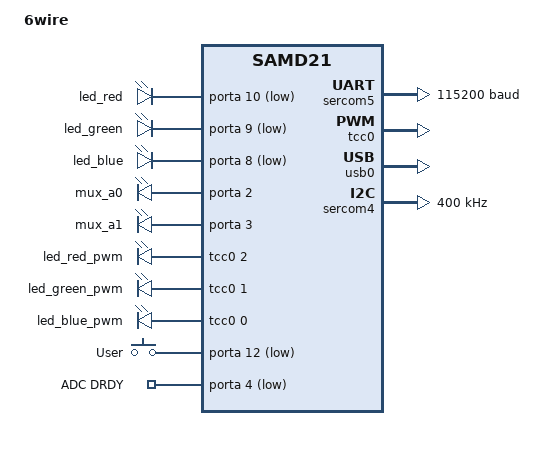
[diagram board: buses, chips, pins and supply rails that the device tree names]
/dts-v1/;
#include <atmel/samd21.dtsi>
#include "6wire-pinctrl.dtsi"

/ {
    model = "6wire";
    compatible = "atmel,samd21g18a", "atmel,samd21";

    chosen {
        zephyr,console = &sercom5;
        zephyr,sram = &sram0;
        zephyr,flash = &flash0;
    };

    aliases {
        led0 = &led_red;
        led1 = &led_green;
        led2 = &led_blue;
        sw0 = &user_btn;
        pwm-led0 = &led_red_pwm;
        red-pwm-led = &led_red_pwm;
        green-pwm-led = &led_green_pwm;
        blue-pwm-led = &led_blue_pwm;
    };

    leds {
        compatible = "gpio-leds";
        led_red: led_0 {
            gpios = <&porta 10 GPIO_ACTIVE_LOW>;
        };
        led_green: led_1 {
            gpios = <&porta 9 GPIO_ACTIVE_LOW>;
        };
        led_blue: led_2 {
            gpios = <&porta 8 GPIO_ACTIVE_LOW>;
        };

        mux_a0: mux_a0 {
            gpios = <&porta 2 0>;
        };
        mux_a1: mux_a1 {
            gpios = <&porta 3 0>;
        };
    };

    pwmleds {
        compatible = "pwm-leds";
        led_red_pwm: led_red_pwm {
            pwms = <&tcc0 2 PWM_MSEC(20)>;
        };
        led_green_pwm: led_green_pwm {
            pwms = <&tcc0 1 PWM_MSEC(20)>;
        };
        led_blue_pwm: led_blue_pwm {
            pwms = <&tcc0 0 PWM_MSEC(20)>;
        };
    };

    buttons {
        compatible = "gpio-keys";
        user_btn: button {
            gpios = <&porta 12 (GPIO_PULL_UP | GPIO_ACTIVE_LOW)>;
            label = "User";
        };
        drdy: drdy {
            gpios = <&porta 4 (GPIO_PULL_UP | GPIO_ACTIVE_LOW)>;
            label = "ADC DRDY";
        };
    };
};

// mod flash and SRAM for samd21g16a (bug in hal_atmel and dts)
&flash0 {
    reg = <0 0x10000>; // 64KB
};

&sram0 {
    reg = <0x20000000 0x2000>; // 8KB
};

&cpu0 {
    clock-frequency = <48000000>;
};

&sercom5 {
    status = "okay";
    compatible = "atmel,sam0-uart";
    current-speed = <115200>;
    rxpo = <1>;
    txpo = <0>;

    pinctrl-0 = <&sercom5_uart_default>;
    pinctrl-names = "default";
};

&tcc0 {
    status = "okay";
    compatible = "atmel,sam0-tcc-pwm";
    /* Gives a maximum period of 1.4s */
    prescaler = <4>;
    #pwm-cells = <2>;

    pinctrl-0 = <&pwm_default>;
    pinctrl-names = "default";
};

zephyr_udc0: &usb0 {
    status = "okay";

    pinctrl-0 = <&usb_dc_default>;
    pinctrl-names = "default";
};

&sercom4 {
    status = "okay";
    compatible = "atmel,sam0-i2c";
    clock-frequency = <I2C_BITRATE_FAST>;
    #address-cells = <1>;
    #size-cells = <0>;

    pinctrl-0 = <&sercom4_i2c_default>;
    pinctrl-names = "default";
};
